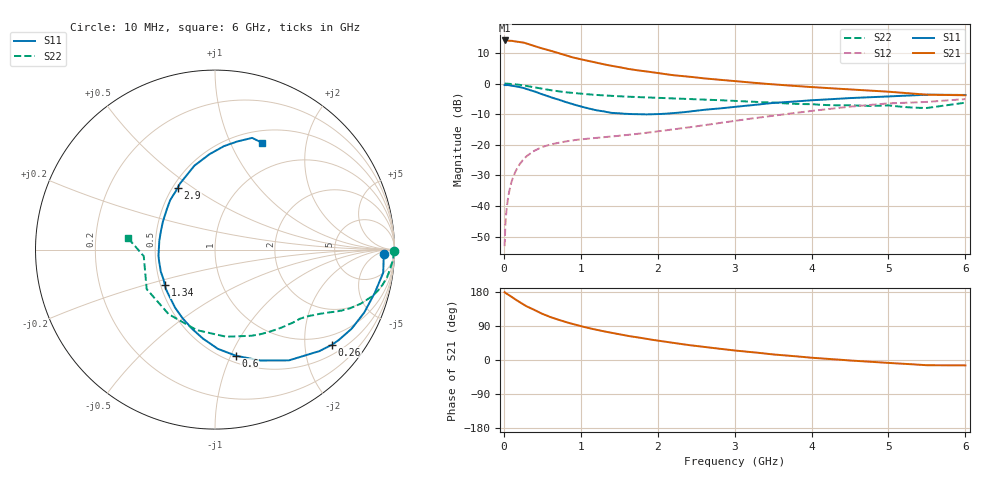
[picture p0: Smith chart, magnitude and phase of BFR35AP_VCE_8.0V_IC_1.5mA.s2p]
! Infineon Technologies  Discrete & RF Semiconductors
! BFR35AP
! VCE =  8.0 V,  IC =  1.5 mA
! Common Emitter S-Parameters:  Nov 2015
# GHz  S  MA  R  50
!  f  S11  S21  S12  S22
! GHz  MAG  ANG  MAG  ANG  MAG  ANG  MAG  ANG
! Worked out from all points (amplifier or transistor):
!   210 points, 10 MHz to 6 GHz, reference 50 ohm
!   highest |S21| = 14.1 dB at 10 MHz (marker M1)
!   |S21| within 3 dB of that: start of sweep to 554.1 MHz
!   unconditionally stable (mu >= 1): 1.325 GHz to 3.412 GHz
!   at 185 MHz: K = 0.19, MSG = 20.4 dB, |S12| = -27.2 dB
!   at 1.52 GHz: K = 1.08, MAG = 9.5 dB, |S12| = -17.0 dB
!   at 6 GHz: K = 0.96, MSG = 0.6 dB, |S12| = -5.1 dB
!   S11 on the Smith chart (normalised r, x): 10 MHz: 28, -13; 260 MHz: 0.73, -2.65; 600 MHz: 0.56, -1.04; 1.34 GHz: 0.53, -0.24; 2.9 GHz: 0.53, +0.44; 6 GHz: 0.64, +1.33
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0.01  0.9424 -1.6  5.053 178.9  0.0022 91.3  0.9999 -0.6
0.02  0.941 -3.0  5.051 177.1  0.0049 88.4  0.9944 -1.3
0.03  0.942 -4.6  5.034 175.9  0.0073 86.5  0.9945 -1.9
0.08  0.9296 -12.3  4.997 169.5  0.0198 82.0  0.987 -5.0
0.1  0.9218 -15.3  5.004 166.9  0.0248 81.0  0.9823 -6.2
0.15  0.9023 -22.9  4.87 159.6  0.0361 76.1  0.9705 -9.2
0.26  0.841 -39.0  4.653 146.0  0.0585 67.7  0.9292 -14.9
0.3  0.8114 -44.2  4.498 141.3  0.0656 65.1  0.91 -16.8
0.4  0.7419 -56.3  4.097 131.8  0.0802 59.1  0.8656 -20.4
0.5  0.6674 -67.8  3.736 121.8  0.0921 54.4  0.8214 -23.4
0.6  0.6019 -79.0  3.458 113.7  0.1005 50.5  0.7815 -25.8
0.8  0.5005 -97.7  2.895 100.3  0.1128 45.9  0.7204 -29.1
1.02  0.4157 -117.1  2.46 88.3  0.1229 43.4  0.6788 -32.0
1.34  0.3418 -144.8  2.012 74.1  0.1342 43.5  0.6347 -36.0
1.6  0.3191 -166.7  1.746 64.0  0.1441 44.9  0.61 -39.2
2.02  0.3172 163.1  1.472 50.6  0.1663 47.5  0.5838 -45.7
2.9  0.4031 120.9  1.126 27.5  0.2355 49.7  0.5275 -64.5
3.1  0.4274 114.7  1.067 23.2  0.2554 48.9  0.5119 -70.0
4.1  0.5406 91.6  0.859 4.6  0.3684 40.9  0.4508 -107.1
5.1  0.6228 76.9  0.719 -8.9  0.4782 26.1  0.4254 -154.5
5.5  0.6559 71.6  0.657 -13.8  0.5008 18.7  0.3986 -174.7
6  0.6503 66.2  0.643 -14.2  0.5564 13.9  0.4868 172.7
